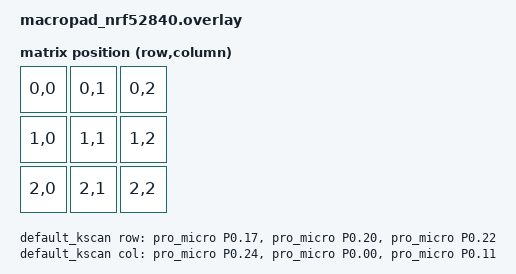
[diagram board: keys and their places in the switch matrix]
#include <dt-bindings/zmk/matrix_transform.h> // Put this with the other includes at the top of your overlay

/ {
    chosen{
        zmk,kscan = &default_kscan;
        zmk, matrix_transform = &default_transform
    }

    
    default_kscan: kscan {
        compatible = "zmk,kscan-gpio-matrix";
        label = "default_kscan"
        diode-direction = "col2row";
        wakeup-source;
  
        row-gpios
            = <&pro_micro P0.17 (GPIO_ACTIVE_HIGH | GPIO_PULL_DOWN)>
            , <&pro_micro P0.20 (GPIO_ACTIVE_HIGH | GPIO_PULL_DOWN)>
            , <&pro_micro P0.22 (GPIO_ACTIVE_HIGH | GPIO_PULL_DOWN)>
            ;   
                 
        col-gpios    
            = <&pro_micro P0.24 GPIO_ACTIVE_HIGH>
            , <&pro_micro P0.00 GPIO_ACTIVE_HIGH>
            , <&pro_micro P0.11 GPIO_ACTIVE_HIGH>
            ;
    };

    default_transform: matrix_transform {
        compatible = "zmk,matrix-transform";
        columns = <3>;
        rows = <3>;
        map = <
            RC(0,0) RC(0,1) RC(0,2)
            RC(1,0) RC(1,1) RC(1,2)
            RC(2,0) RC(2,1) RC(2,2)
        >;
    };
};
